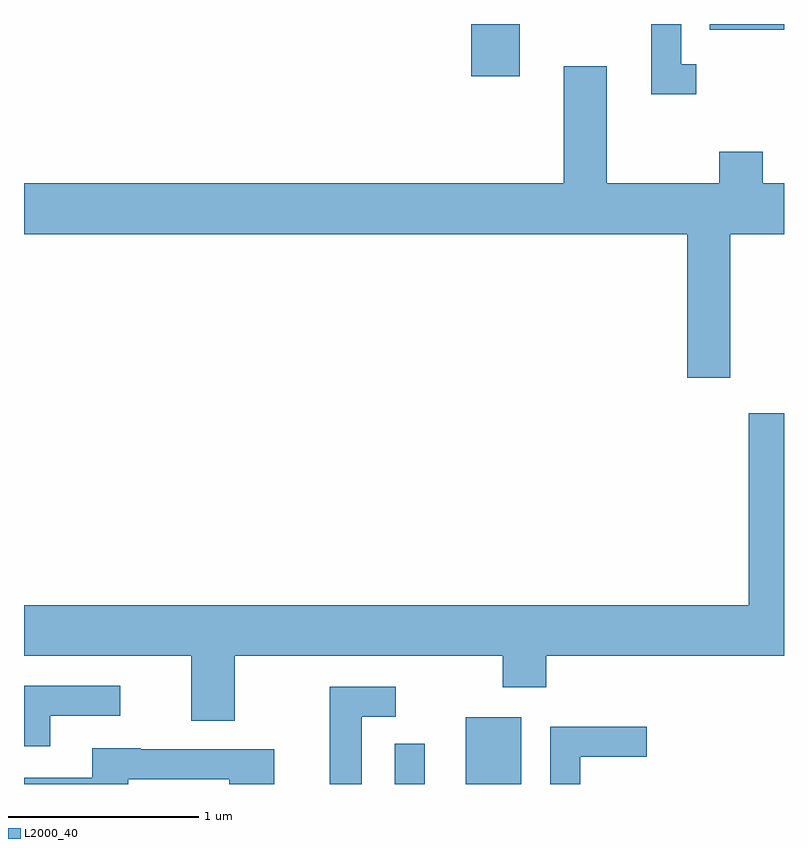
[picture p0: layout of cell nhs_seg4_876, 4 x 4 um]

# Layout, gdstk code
import gdstk
lib = gdstk.Library(unit=1e-6, precision=1e-09)
def R(c, l, rs):  # rectangles x0, y0, x1, y1
    for r in rs: c.add(gdstk.rectangle(r[:2], r[2:], *l))
def P(c, l, *ps):  # polygons
    for p in ps: c.add(gdstk.Polygon(p, *l))
L2000_40 = (2000, 40)

nhs_seg4_876 = lib.new_cell('nhs_seg4_876')
R(nhs_seg4_876, L2000_40, [(211.561,1373.982,211.719,1374.193), (211.936,1373.982,212.229,1374.334), (211.966,1377.706,212.219,1377.982), (213.221,1377.951,213.611,1377.982)])
P(nhs_seg4_876, L2000_40, [(213.148,1377.769),(213.069,1377.769),(213.069,1377.982),(212.911,1377.982),(212.911,1377.611),(213.148,1377.611)],
  [(213.329,1376.876),(213.611,1376.876),(213.611,1377.144),(213.499,1377.144),(213.499,1377.309),(213.271,1377.309),(213.271,1377.144),(212.679,1377.144),(212.679,1377.759),(212.451,1377.759),(212.451,1377.144),(209.611,1377.144),(209.611,1376.876),(213.101,1376.876),(213.101,1376.121),(213.329,1376.121)],
  [(210.719,1374.656),(212.131,1374.656),(212.131,1374.491),(212.359,1374.491),(212.359,1374.656),(213.611,1374.656),(213.611,1375.934),(213.426,1375.934),(213.426,1374.924),(209.611,1374.924),(209.611,1374.656),(210.491,1374.656),(210.491,1374.316),(210.719,1374.316)],
  [(209.749,1374.341),(210.118,1374.341),(210.118,1374.499),(209.611,1374.499),(209.611,1374.181),(209.749,1374.181)],
  [(211.389,1374.336),(211.568,1374.336),(211.568,1374.494),(211.221,1374.494),(211.221,1373.982),(211.389,1373.982)],
  [(212.539,1374.126),(212.888,1374.126),(212.888,1374.284),(212.381,1374.284),(212.381,1373.982),(212.539,1373.982)],
  [(210.159,1374.006),(210.691,1374.006),(210.691,1373.982),(210.929,1373.982),(210.929,1374.164),(210.225,1374.164),(210.225,1374.169),(209.971,1374.169),(209.971,1374.014),(209.611,1374.014),(209.611,1373.982),(210.159,1373.982)])

lib.write_gds('nhs_seg4_876.gds')
